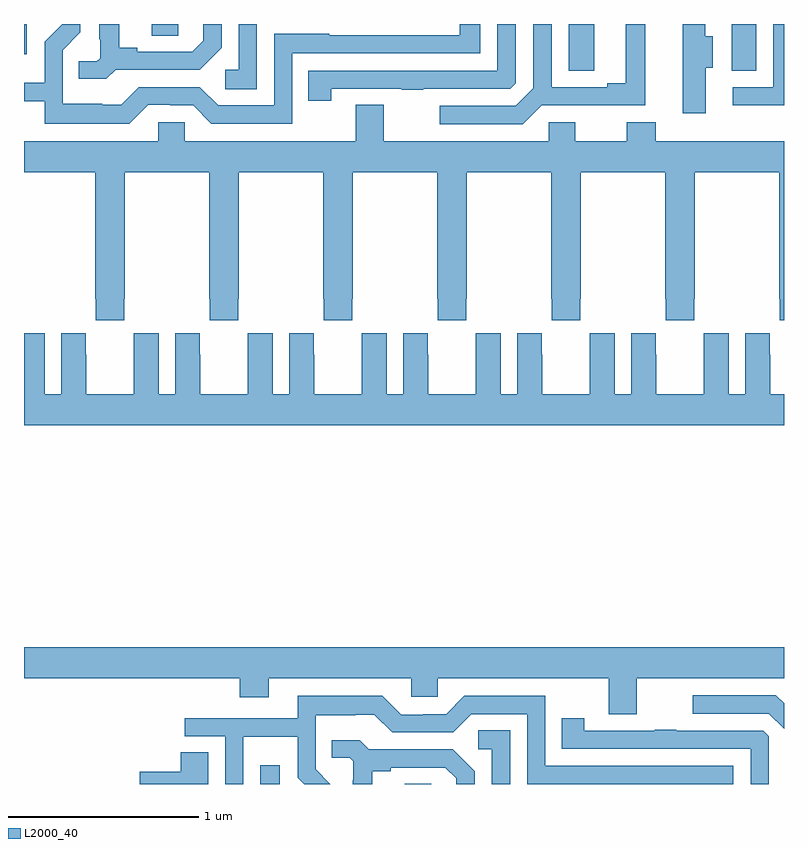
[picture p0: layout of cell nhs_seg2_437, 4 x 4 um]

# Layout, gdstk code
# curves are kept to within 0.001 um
import gdstk
lib = gdstk.Library(unit=1e-6, precision=1e-09)
def R(c, l, rs):  # rectangles x0, y0, x1, y1
    for r in rs: c.add(gdstk.rectangle(r[:2], r[2:], *l))
def P(c, l, *ps):  # polygons
    for p in ps: c.add(gdstk.Polygon(p, *l))
L2000_40 = (2000, 40)

nhs_seg2_437 = lib.new_cell('nhs_seg2_437')
R(nhs_seg2_437, L2000_40, [(134.243,593.8,134.347,593.899), (135.005,593.8,135.144,593.801), (135.866,597.553,136,597.8), (136.724,597.553,136.855,597.8), (133,597.642,133.015,597.8), (133.673,597.739,133.812,597.8)])
P(nhs_seg2_437, L2000_40, [(135.724,597.372),(136.27,597.372),(136.27,597.8),(136.166,597.8),(136.166,597.488),(136.07,597.488),(136.07,597.468),(135.777,597.468),(135.777,597.8),(135.681,597.8),(135.681,597.462),(135.588,597.369),(135.189,597.369),(135.189,597.273),(135.625,597.273)],
  [(133.482,597.558),(133.924,597.558),(134.04,597.674),(134.04,597.8),(133.943,597.8),(133.943,597.711),(133.886,597.654),(133.597,597.654),(133.597,597.674),(133.501,597.674),(133.501,597.8),(133.397,597.8),(133.397,597.721),(133.401,597.721),(133.401,597.621),(133.383,597.603),(133.288,597.603),(133.288,597.511),(133.434,597.511)],
  [(134.226,597.8),(134.13,597.8),(134.13,597.558),(134.058,597.558),(134.058,597.457),(134.226,597.457)],
  [(134.616,597.459),(134.989,597.459),(134.989,597.454),(135.101,597.454),(135.101,597.459),(135.558,597.459),(135.588,597.489),(135.588,597.8),(135.492,597.8),(135.492,597.555),(134.497,597.555),(134.497,597.396),(134.616,597.396)],
  [(133.653,597.375),(133.77,597.375),(133.77,597.372),(133.89,597.372),(133.986,597.276),(134.412,597.276),(134.412,597.645),(135.402,597.645),(135.402,597.8),(135.294,597.8),(135.294,597.742),(134.607,597.741),(134.607,597.748),(134.316,597.748),(134.316,597.372),(134.022,597.372),(133.926,597.468),(133.605,597.468),(133.512,597.375),(133.412,597.375),(133.412,597.379),(133.203,597.379),(133.203,597.663),(133.296,597.756),(133.296,597.8),(133.202,597.8),(133.202,597.798),(133.11,597.706),(133.11,597.49),(133,597.49),(133,597.393),(133.109,597.393),(133.109,597.275),(133.553,597.275)],
  [(136.588,597.571),(136.624,597.571),(136.624,597.736),(136.585,597.736),(136.585,597.8),(136.466,597.8),(136.466,597.33),(136.588,597.33)],
  [(137,597.8),(136.944,597.8),(136.944,597.468),(136.731,597.468),(136.731,597.372),(137,597.372)],
  [(133.527,596.353),(133.53,596.353),(133.53,597.02),(133.975,597.02),(133.975,596.353),(133.977,596.353),(133.977,596.241),(134.127,596.241),(134.127,596.353),(134.13,596.353),(134.13,597.02),(134.575,597.02),(134.575,596.353),(134.577,596.353),(134.577,596.241),(134.727,596.241),(134.727,596.353),(134.73,596.353),(134.73,597.02),(135.175,597.02),(135.175,596.353),(135.177,596.353),(135.177,596.241),(135.327,596.241),(135.327,596.353),(135.33,596.353),(135.33,597.02),(135.775,597.02),(135.775,596.353),(135.777,596.353),(135.777,596.241),(135.927,596.241),(135.927,596.353),(135.93,596.353),(135.93,597.02),(136.375,597.02),(136.375,596.353),(136.377,596.353),(136.377,596.241),(136.527,596.241),(136.527,596.353),(136.53,596.353),(136.53,597.02),(136.975,597.02),(136.975,596.353),(136.977,596.353),(136.977,596.241),(137,596.241),(137,597.184),(136.325,597.184),(136.325,597.283),(136.172,597.283),(136.172,597.184),(135.901,597.184),(135.901,597.282),(135.762,597.282),(135.762,597.184),(134.893,597.184),(134.893,597.374),(134.746,597.374),(134.746,597.184),(133.845,597.184),(133.845,597.282),(133.707,597.282),(133.707,597.184),(133,597.184),(133,597.02),(133.375,597.02),(133.375,596.353),(133.377,596.353),(133.377,596.241),(133.527,596.241)],
  [(134.526,596.06),(134.526,596.173),(134.396,596.173),(134.396,595.852),(134.308,595.852),(134.308,596.173),(134.178,596.173),(134.178,596.06),(134.177,596.06),(134.177,595.852),(133.927,595.852),(133.927,596.06),(133.926,596.06),(133.926,596.173),(133.796,596.173),(133.796,595.852),(133.708,595.852),(133.708,596.173),(133.578,596.173),(133.578,596.06),(133.577,596.06),(133.577,595.852),(133.327,595.852),(133.327,596.06),(133.326,596.06),(133.326,596.173),(133.196,596.173),(133.196,595.852),(133.108,595.852),(133.108,596.173),(133,596.173),(133,595.688),(137,595.688),(137,595.852),(136.927,595.852),(136.927,596.06),(136.926,596.06),(136.926,596.173),(136.796,596.173),(136.796,595.852),(136.708,595.852),(136.708,596.173),(136.578,596.173),(136.578,596.06),(136.577,596.06),(136.577,595.852),(136.327,595.852),(136.327,596.06),(136.326,596.06),(136.326,596.173),(136.196,596.173),(136.196,595.852),(136.108,595.852),(136.108,596.173),(135.978,596.173),(135.978,596.06),(135.977,596.06),(135.977,595.852),(135.727,595.852),(135.727,596.06),(135.726,596.06),(135.726,596.173),(135.596,596.173),(135.596,595.852),(135.508,595.852),(135.508,596.173),(135.378,596.173),(135.378,596.06),(135.377,596.06),(135.377,595.852),(135.127,595.852),(135.127,596.06),(135.126,596.06),(135.126,596.173),(134.996,596.173),(134.996,595.852),(134.908,595.852),(134.908,596.173),(134.778,596.173),(134.778,596.06),(134.777,596.06),(134.777,595.852),(134.527,595.852),(134.527,596.06)],
  [(136.225,594.356),(137,594.356),(137,594.52),(133,594.52),(133,594.356),(134.135,594.356),(134.135,594.257),(134.287,594.257),(134.287,594.356),(135.039,594.356),(135.039,594.258),(135.177,594.258),(135.177,594.356),(136.078,594.356),(136.078,594.166),(136.225,594.166)],
  [(137,594.224),(136.957,594.267),(136.521,594.267),(136.521,594.171),(136.92,594.171),(137,594.091)],
  [(134.154,594.05),(134.442,594.05),(134.442,593.834),(134.476,593.8),(134.612,593.8),(134.535,593.877),(134.535,594.161),(134.744,594.161),(134.744,594.165),(134.844,594.165),(134.937,594.072),(135.258,594.072),(135.354,594.168),(135.648,594.168),(135.648,593.8),(136.734,593.8),(136.734,593.895),(135.744,593.895),(135.744,594.264),(135.318,594.264),(135.222,594.168),(135.102,594.168),(135.102,594.165),(134.985,594.165),(134.885,594.265),(134.441,594.265),(134.441,594.147),(133.845,594.147),(133.845,594.051),(134.058,594.051),(134.058,593.8),(134.154,593.8)],
  [(136.92,594.051),(136.89,594.081),(136.433,594.081),(136.433,594.086),(136.321,594.086),(136.321,594.081),(135.948,594.081),(135.948,594.145),(135.829,594.145),(135.829,593.985),(136.824,593.985),(136.824,593.8),(136.92,593.8)],
  [(135.558,594.083),(135.39,594.083),(135.39,593.982),(135.462,593.982),(135.462,593.8),(135.558,593.8)],
  [(134.833,593.866),(134.929,593.866),(134.929,593.886),(135.218,593.886),(135.275,593.829),(135.275,593.8),(135.372,593.8),(135.372,593.866),(135.256,593.982),(134.814,593.982),(134.766,594.029),(134.62,594.029),(134.62,593.937),(134.715,593.937),(134.733,593.919),(134.733,593.819),(134.729,593.819),(134.729,593.8),(134.833,593.8)],
  [(133.969,593.966),(133.826,593.966),(133.826,593.864),(133.608,593.864),(133.608,593.8),(133.969,593.8)])

lib.write_gds('nhs_seg2_437.gds')
